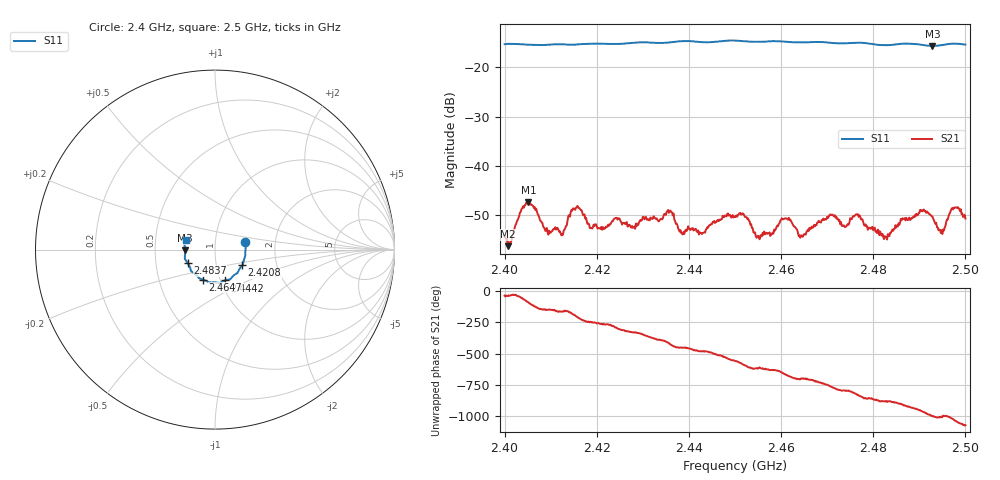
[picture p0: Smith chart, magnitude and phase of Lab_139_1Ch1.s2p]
# Hz S RI R 50
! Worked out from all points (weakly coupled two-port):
!   601 points, 2.4 GHz to 2.5 GHz, reference 50 ohm
!   highest |S21| = -47.44 dB at 2.4052 GHz (marker M1); lowest = -56.4 dB at 2.4007 GHz (marker M2)
!   lowest |S11| = -15.6 dB at 2.4928 GHz (marker M3), VSWR 1.40, Z = 35.8 - j0.364 ohm
!   |S11| at or under -10 dB: start of sweep to end of sweep
!   S12 and S22 are empty: the file has one direction only
!   S11 on the Smith chart (normalised r, x): 2.4 GHz: 1.40, +0.12; 2.4208 GHz: 1.33, -0.24; 2.4442 GHz: 1.05, -0.37; 2.4647 GHz: 0.83, -0.29; 2.4837 GHz: 0.73, -0.11; 2.5 GHz: 0.72, +0.08
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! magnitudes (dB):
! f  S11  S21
! 2.4 GHz  -15.3  -54.5
! 2.4007 GHz  -15.2  -56.4
! 2.4052 GHz  -15.4  -47.4
! 2.4098 GHz  -15.3  -53.6
! 2.4167 GHz  -15.2  -49.0
! 2.4208 GHz  -15.2  -52.9
! 2.4333 GHz  -15.0  -51.2
! 2.4358 GHz  -14.9  -49.3
! 2.4442 GHz  -14.9  -52.6
! 2.45 GHz  -14.5  -50.3
! 2.455 GHz  -14.8  -54.3
! 2.4607 GHz  -14.7  -50.8
! 2.4647 GHz  -14.9  -54.5
! 2.4667 GHz  -14.8  -52.4
! 2.4765 GHz  -15.0  -49.9
! 2.4833 GHz  -15.4  -54.0
! 2.4837 GHz  -15.4  -53.7
! 2.4905 GHz  -15.4  -49.1
! 2.4928 GHz  -15.6  -50.3
! 2.4948 GHz  -15.5  -53.1
! 2.4975 GHz  -15.1  -48.5
! 2.5 GHz  -15.3  -50.8
